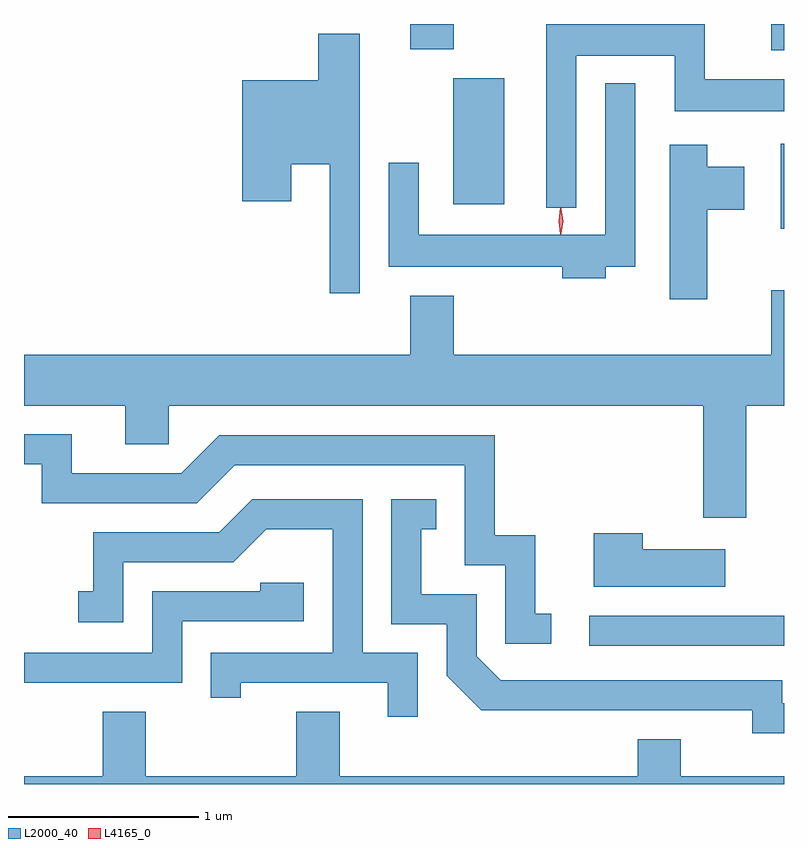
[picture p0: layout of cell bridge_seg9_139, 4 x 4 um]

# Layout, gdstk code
import gdstk
lib = gdstk.Library(unit=1e-6, precision=1e-09)
def R(c, l, rs):  # rectangles x0, y0, x1, y1
    for r in rs: c.add(gdstk.rectangle(r[:2], r[2:], *l))
def P(c, l, *ps):  # polygons
    for p in ps: c.add(gdstk.Polygon(p, *l))
L2000_40 = (2000, 40)
L4165_0 = (4165, 0)

bridge_seg9_139 = lib.new_cell('bridge_seg9_139')
R(bridge_seg9_139, L2000_40, [(1408.863,2066.031,1409.887,2066.189), (1409.871,2068.226,1409.887,2068.674), (1408.146,2068.356,1408.414,2069.019), (1409.821,2069.166,1409.887,2069.304), (1407.921,2069.171,1408.149,2069.304)])
P(bridge_seg9_139, L2000_40, [(1408.794,2069.136),(1409.311,2069.136),(1409.311,2068.846),(1409.887,2068.846),(1409.887,2069.014),(1409.469,2069.014),(1409.469,2069.304),(1408.636,2069.304),(1408.636,2068.338),(1408.794,2068.338)],
  [(1407.654,2069.254),(1407.436,2069.254),(1407.436,2069.009),(1407.036,2069.009),(1407.036,2068.371),(1407.294,2068.371),(1407.294,2068.566),(1407.496,2068.566),(1407.496,2067.887),(1407.654,2067.887)],
  [(1408.949,2068.026),(1409.104,2068.026),(1409.104,2068.992),(1408.946,2068.992),(1408.946,2068.194),(1407.964,2068.194),(1407.964,2068.573),(1407.806,2068.573),(1407.806,2068.026),(1408.721,2068.026),(1408.721,2067.966),(1408.949,2067.966)],
  [(1409.484,2068.326),(1409.679,2068.326),(1409.679,2068.554),(1409.484,2068.554),(1409.484,2068.669),(1409.286,2068.669),(1409.286,2067.856),(1409.484,2067.856)],
  [(1405.887,2067.296),(1406.421,2067.296),(1406.421,2067.091),(1406.649,2067.091),(1406.649,2067.296),(1409.461,2067.296),(1409.461,2066.706),(1409.689,2066.706),(1409.689,2067.296),(1409.887,2067.296),(1409.887,2067.904),(1409.821,2067.904),(1409.821,2067.564),(1408.149,2067.564),(1408.149,2067.874),(1407.921,2067.874),(1407.921,2067.564),(1405.887,2067.564)],
  [(1408.663,2066.199),(1408.579,2066.199),(1408.579,2066.614),(1408.364,2066.614),(1408.364,2067.139),(1406.914,2067.139),(1406.714,2066.939),(1406.139,2066.939),(1406.139,2067.144),(1405.887,2067.144),(1405.887,2066.986),(1405.981,2066.986),(1405.981,2066.781),(1406.797,2066.781),(1406.997,2066.981),(1408.206,2066.981),(1408.206,2066.456),(1408.421,2066.456),(1408.421,2066.041),(1408.663,2066.041)],
  [(1407.959,2065.994),(1407.669,2065.994),(1407.669,2066.804),(1407.089,2066.804),(1406.914,2066.629),(1406.251,2066.629),(1406.251,2066.319),(1406.173,2066.319),(1406.173,2066.156),(1406.409,2066.156),(1406.409,2066.471),(1406.987,2066.471),(1407.162,2066.646),(1407.511,2066.646),(1407.511,2065.994),(1406.871,2065.994),(1406.871,2065.758),(1407.029,2065.758),(1407.029,2065.836),(1407.801,2065.836),(1407.801,2065.658),(1407.959,2065.658)],
  [(1409.887,2065.729),(1409.879,2065.729),(1409.879,2065.849),(1408.397,2065.849),(1408.269,2065.977),(1408.269,2066.304),(1407.979,2066.304),(1407.979,2066.646),(1408.058,2066.646),(1408.058,2066.804),(1407.821,2066.804),(1407.821,2066.146),(1408.111,2066.146),(1408.111,2065.874),(1408.294,2065.691),(1409.721,2065.691),(1409.721,2065.571),(1409.887,2065.571)],
  [(1409.579,2066.539),(1409.144,2066.539),(1409.144,2066.624),(1408.886,2066.624),(1408.886,2066.341),(1409.579,2066.341)],
  [(1406.719,2066.161),(1407.359,2066.161),(1407.359,2066.364),(1407.131,2066.364),(1407.131,2066.319),(1406.561,2066.319),(1406.561,2065.994),(1405.887,2065.994),(1405.887,2065.836),(1406.719,2065.836)],
  [(1409.887,2065.344),(1409.344,2065.344),(1409.344,2065.539),(1409.116,2065.539),(1409.116,2065.344),(1407.549,2065.344),(1407.549,2065.684),(1407.321,2065.684),(1407.321,2065.344),(1406.529,2065.344),(1406.529,2065.684),(1406.301,2065.684),(1406.301,2065.344),(1405.887,2065.344),(1405.887,2065.304),(1409.887,2065.304)])
P(bridge_seg9_139, L4165_0, [(1408.711,2068.197),(1408.71,2068.198),(1408.701,2068.267),(1408.71,2068.336),(1408.711,2068.336),(1408.712,2068.336),(1408.721,2068.267),(1408.712,2068.198)],
  [(1408.715,2068.199),(1408.714,2068.2),(1408.705,2068.266),(1408.714,2068.332),(1408.715,2068.333),(1408.715,2068.332),(1408.725,2068.266),(1408.715,2068.2)])

lib.write_gds('bridge_seg9_139.gds')
